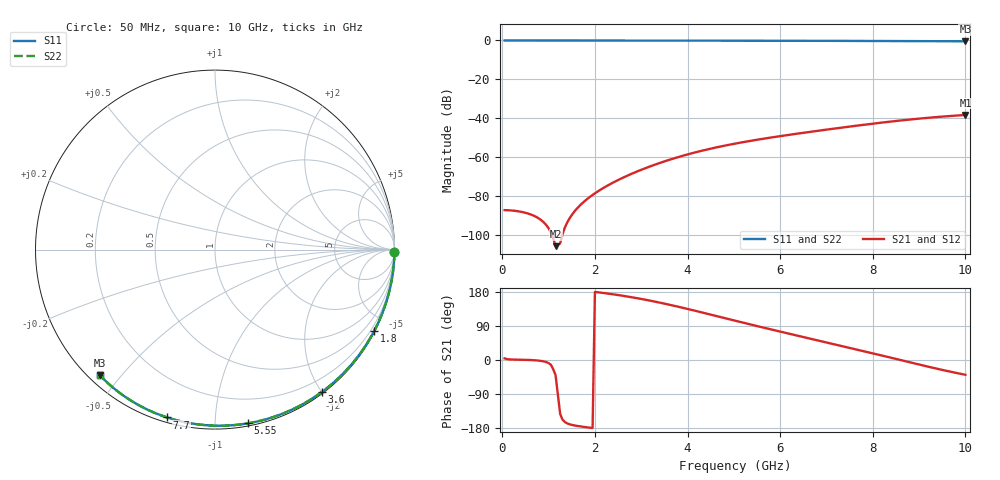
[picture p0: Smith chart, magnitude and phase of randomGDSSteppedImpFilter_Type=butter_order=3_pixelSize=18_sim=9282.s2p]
! freq	dB(S11)	phase(S11)	dB(S12)	phase(S12)
!  dB(S21)	phase(S21)	dB(S22)	phase(S22)
!S-par simulation data
#  GHz  S  DB  R 50
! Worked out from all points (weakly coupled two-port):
!   200 points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, 50 MHz to 10 GHz, reference 50 ohm
!   highest |S21| = -38.29 dB at 10 GHz (marker M1); lowest = -105.7 dB at 1.15 GHz (marker M2)
!   lowest |S11| = -0.4 dB at 10 GHz (marker M3), VSWR 38.77, Z = 1.54 - j21.9 ohm
!   |S11| at or under -10 dB: nowhere
!   |S22| runs from -0.4 to 0.0 dB; largest |S21 - S12| = 0
!   S11 on the Smith chart (normalised r, x): 50 MHz: open; 1.8 GHz: 0.04, -4.14; 3.6 GHz: 0.02, -2.00; 5.55 GHz: 0.02, -1.21; 7.7 GHz: 0.02, -0.75; 10 GHz: 0.03, -0.44
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0.05  -0.00 -0.8  -87.19 4.2  -87.19 4.2  -0.00 -0.8
0.6  -0.01 -9.2  -89.29 0.0  -89.29 0.0  -0.01 -9.2
1.15  -0.02 -17.5  -105.71 -39.7  -105.71 -39.7  -0.02 -17.5
1.75  -0.03 -26.4  -83.14 -176.4  -83.14 -176.4  -0.03 -26.4
1.8  -0.03 -27.2  -82.11 -177.2  -82.11 -177.2  -0.03 -27.2
1.9  -0.04 -28.6  -80.24 -178.7  -80.24 -178.7  -0.04 -28.6
2.25  -0.04 -33.8  -74.86 175.8  -74.86 175.8  -0.04 -33.8
2.55  -0.05 -38.2  -71.14 170.5  -71.14 170.5  -0.05 -38.2
2.95  -0.06 -43.9  -66.94 162.3  -66.94 162.3  -0.06 -43.9
3.4  -0.07 -50.3  -62.95 151.4  -62.95 151.4  -0.07 -50.3
3.6  -0.07 -53.1  -61.38 146.1  -61.38 146.1  -0.07 -53.1
3.9  -0.08 -57.3  -59.23 137.7  -59.23 137.7  -0.08 -57.3
4.3  -0.09 -62.8  -56.72 125.9  -56.72 125.9  -0.09 -62.8
4.65  -0.10 -67.5  -54.81 115.2  -54.81 115.2  -0.10 -67.5
5.05  -0.11 -72.8  -52.90 103.0  -52.90 103.0  -0.11 -72.8
5.55  -0.13 -79.3  -50.83 88.1  -50.83 88.1  -0.13 -79.3
6.1  -0.15 -86.3  -48.82 72.1  -48.82 72.1  -0.15 -86.3
6.7  -0.18 -93.8  -46.79 55.1  -46.79 55.1  -0.18 -93.8
7.7  -0.24 -105.9  -43.65 26.5  -43.65 26.5  -0.24 -105.9
8.35  -0.29 -113.6  -41.78 7.3  -41.78 7.3  -0.29 -113.6
9.15  -0.36 -122.9  -39.83 -16.3  -39.83 -16.3  -0.36 -122.9
10  -0.45 -132.6  -38.29 -39.0  -38.29 -39.0  -0.45 -132.6
